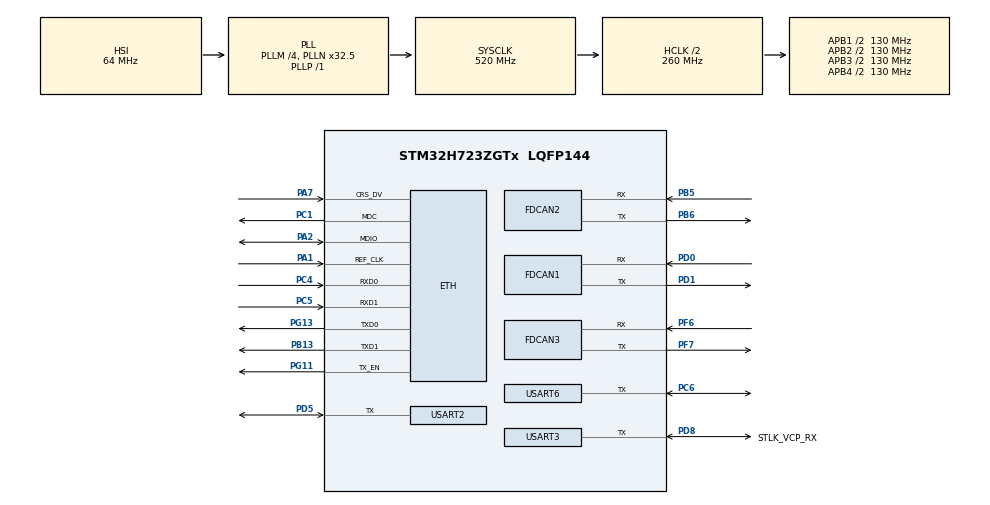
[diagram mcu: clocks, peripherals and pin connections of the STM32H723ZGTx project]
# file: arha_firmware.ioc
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CORTEX_M7.AccessPermission_S-Cortex_Memory_Protection_Unit_Region1_Settings_S=MPU_REGION_FULL_ACCESS
CORTEX_M7.AccessPermission_S-Cortex_Memory_Protection_Unit_Region2_Settings_S=MPU_REGION_FULL_ACCESS
CORTEX_M7.BaseAddress_S-Cortex_Memory_Protection_Unit_Region1_Settings_S=0x30000000
CORTEX_M7.BaseAddress_S-Cortex_Memory_Protection_Unit_Region2_Settings_S=0x30004000
CORTEX_M7.Enable_S-Cortex_Memory_Protection_Unit_Region1_Settings_S=MPU_REGION_ENABLE
CORTEX_M7.Enable_S-Cortex_Memory_Protection_Unit_Region2_Settings_S=MPU_REGION_ENABLE
CORTEX_M7.IsBufferable_S-Cortex_Memory_Protection_Unit_Region1_Settings_S=MPU_ACCESS_BUFFERABLE
CORTEX_M7.IsCacheable_S-Cortex_Memory_Protection_Unit_Region1_Settings_S=MPU_ACCESS_NOT_CACHEABLE
CORTEX_M7.IsShareable_S-Cortex_Memory_Protection_Unit_Region2_Settings_S=MPU_ACCESS_SHAREABLE
CORTEX_M7.Size_S-Cortex_Memory_Protection_Unit_Region1_Settings_S=MPU_REGION_SIZE_256B
CORTEX_M7.Size_S-Cortex_Memory_Protection_Unit_Region2_Settings_S=MPU_REGION_SIZE_16KB
CORTEX_M7.TypeExtField_S-Cortex_Memory_Protection_Unit_Region2_Settings_S=MPU_TEX_LEVEL1
CORTEX_M7.default_mode_Activation=1
Dma.CORDIC_RD.1.Direction=DMA_PERIPH_TO_MEMORY
Dma.CORDIC_RD.1.EventEnable=DISABLE
Dma.CORDIC_RD.1.FIFOMode=DMA_FIFOMODE_DISABLE
Dma.CORDIC_RD.1.Instance=DMA1_Stream1
Dma.CORDIC_RD.1.MemDataAlignment=DMA_MDATAALIGN_WORD
Dma.CORDIC_RD.1.MemInc=DMA_MINC_ENABLE
Dma.CORDIC_RD.1.Mode=DMA_NORMAL
Dma.CORDIC_RD.1.PeriphDataAlignment=DMA_PDATAALIGN_WORD
Dma.CORDIC_RD.1.PeriphInc=DMA_PINC_DISABLE
Dma.CORDIC_RD.1.Polarity=HAL_DMAMUX_REQ_GEN_RISING
Dma.CORDIC_RD.1.Priority=DMA_PRIORITY_LOW
Dma.CORDIC_RD.1.RequestNumber=1
Dma.CORDIC_RD.1.SignalID=NONE
Dma.CORDIC_RD.1.SyncEnable=DISABLE
Dma.CORDIC_RD.1.SyncPolarity=HAL_DMAMUX_SYNC_NO_EVENT
Dma.CORDIC_RD.1.SyncRequestNumber=1
Dma.CORDIC_RD.1.SyncSignalID=NONE
Dma.CORDIC_WR.0.Direction=DMA_MEMORY_TO_PERIPH
Dma.CORDIC_WR.0.EventEnable=DISABLE
Dma.CORDIC_WR.0.FIFOMode=DMA_FIFOMODE_DISABLE
Dma.CORDIC_WR.0.Instance=DMA1_Stream0
Dma.CORDIC_WR.0.MemDataAlignment=DMA_MDATAALIGN_WORD
Dma.CORDIC_WR.0.MemInc=DMA_MINC_ENABLE
Dma.CORDIC_WR.0.Mode=DMA_NORMAL
Dma.CORDIC_WR.0.PeriphDataAlignment=DMA_PDATAALIGN_WORD
Dma.CORDIC_WR.0.PeriphInc=DMA_PINC_DISABLE
Dma.CORDIC_WR.0.Polarity=HAL_DMAMUX_REQ_GEN_RISING
Dma.CORDIC_WR.0.Priority=DMA_PRIORITY_LOW
Dma.CORDIC_WR.0.RequestNumber=1
Dma.CORDIC_WR.0.SignalID=NONE
Dma.CORDIC_WR.0.SyncEnable=DISABLE
Dma.CORDIC_WR.0.SyncPolarity=HAL_DMAMUX_SYNC_NO_EVENT
Dma.CORDIC_WR.0.SyncRequestNumber=1
Dma.CORDIC_WR.0.SyncSignalID=NONE
Dma.FMAC_RD.2.Direction=DMA_PERIPH_TO_MEMORY
Dma.FMAC_RD.2.EventEnable=DISABLE
Dma.FMAC_RD.2.FIFOMode=DMA_FIFOMODE_DISABLE
Dma.FMAC_RD.2.Instance=DMA1_Stream2
Dma.FMAC_RD.2.MemDataAlignment=DMA_MDATAALIGN_HALFWORD
Dma.FMAC_RD.2.MemInc=DMA_MINC_ENABLE
Dma.FMAC_RD.2.Mode=DMA_NORMAL
Dma.FMAC_RD.2.PeriphDataAlignment=DMA_PDATAALIGN_HALFWORD
Dma.FMAC_RD.2.PeriphInc=DMA_PINC_DISABLE
Dma.FMAC_RD.2.Polarity=HAL_DMAMUX_REQ_GEN_RISING
Dma.FMAC_RD.2.Priority=DMA_PRIORITY_LOW
Dma.FMAC_RD.2.RequestNumber=1
Dma.FMAC_RD.2.SignalID=NONE
Dma.FMAC_RD.2.SyncEnable=DISABLE
Dma.FMAC_RD.2.SyncPolarity=HAL_DMAMUX_SYNC_NO_EVENT
Dma.FMAC_RD.2.SyncRequestNumber=1
Dma.FMAC_RD.2.SyncSignalID=NONE
Dma.FMAC_WR.3.Direction=DMA_MEMORY_TO_PERIPH
Dma.FMAC_WR.3.EventEnable=DISABLE
Dma.FMAC_WR.3.FIFOMode=DMA_FIFOMODE_DISABLE
Dma.FMAC_WR.3.Instance=DMA1_Stream3
Dma.FMAC_WR.3.MemDataAlignment=DMA_MDATAALIGN_HALFWORD
Dma.FMAC_WR.3.MemInc=DMA_MINC_ENABLE
Dma.FMAC_WR.3.Mode=DMA_NORMAL
Dma.FMAC_WR.3.PeriphDataAlignment=DMA_PDATAALIGN_HALFWORD
Dma.FMAC_WR.3.PeriphInc=DMA_PINC_DISABLE
Dma.FMAC_WR.3.Polarity=HAL_DMAMUX_REQ_GEN_RISING
Dma.FMAC_WR.3.Priority=DMA_PRIORITY_LOW
Dma.FMAC_WR.3.RequestNumber=1
Dma.FMAC_WR.3.SignalID=NONE
Dma.FMAC_WR.3.SyncEnable=DISABLE
Dma.FMAC_WR.3.SyncPolarity=HAL_DMAMUX_SYNC_NO_EVENT
Dma.FMAC_WR.3.SyncRequestNumber=1
Dma.FMAC_WR.3.SyncSignalID=NONE
Dma.Request0=CORDIC_WR
Dma.Request1=CORDIC_RD
Dma.Request2=FMAC_RD
Dma.Request3=FMAC_WR
Dma.Request4=USART3_RX
Dma.Request5=USART3_TX
Dma.Request6=USART6_RX
Dma.Request7=USART6_TX
Dma.USART3_RX.4.Direction=DMA_PERIPH_TO_MEMORY
Dma.USART3_RX.4.EventEnable=DISABLE
Dma.USART3_RX.4.FIFOMode=DMA_FIFOMODE_DISABLE
Dma.USART3_RX.4.Instance=DMA1_Stream4
Dma.USART3_RX.4.MemDataAlignment=DMA_MDATAALIGN_BYTE
Dma.USART3_RX.4.MemInc=DMA_MINC_ENABLE
Dma.USART3_RX.4.Mode=DMA_NORMAL
Dma.USART3_RX.4.PeriphDataAlignment=DMA_PDATAALIGN_BYTE
Dma.USART3_RX.4.PeriphInc=DMA_PINC_DISABLE
Dma.USART3_RX.4.Polarity=HAL_DMAMUX_REQ_GEN_RISING
Dma.USART3_RX.4.Priority=DMA_PRIORITY_HIGH
Dma.USART3_RX.4.RequestNumber=1
Dma.USART3_RX.4.SignalID=NONE
Dma.USART3_RX.4.SyncEnable=DISABLE
Dma.USART3_RX.4.SyncPolarity=HAL_DMAMUX_SYNC_NO_EVENT
Dma.USART3_RX.4.SyncRequestNumber=1
Dma.USART3_RX.4.SyncSignalID=NONE
Dma.USART3_TX.5.Direction=DMA_MEMORY_TO_PERIPH
Dma.USART3_TX.5.EventEnable=DISABLE
Dma.USART3_TX.5.FIFOMode=DMA_FIFOMODE_DISABLE
Dma.USART3_TX.5.Instance=DMA1_Stream5
Dma.USART3_TX.5.MemDataAlignment=DMA_MDATAALIGN_BYTE
Dma.USART3_TX.5.MemInc=DMA_MINC_ENABLE
Dma.USART3_TX.5.Mode=DMA_NORMAL
Dma.USART3_TX.5.PeriphDataAlignment=DMA_PDATAALIGN_BYTE
Dma.USART3_TX.5.PeriphInc=DMA_PINC_DISABLE
Dma.USART3_TX.5.Polarity=HAL_DMAMUX_REQ_GEN_RISING
Dma.USART3_TX.5.Priority=DMA_PRIORITY_MEDIUM
Dma.USART3_TX.5.RequestNumber=1
Dma.USART3_TX.5.SignalID=NONE
Dma.USART3_TX.5.SyncEnable=DISABLE
Dma.USART3_TX.5.SyncPolarity=HAL_DMAMUX_SYNC_NO_EVENT
Dma.USART3_TX.5.SyncRequestNumber=1
Dma.USART3_TX.5.SyncSignalID=NONE
Dma.USART6_RX.6.Direction=DMA_PERIPH_TO_MEMORY
Dma.USART6_RX.6.EventEnable=DISABLE
Dma.USART6_RX.6.FIFOMode=DMA_FIFOMODE_DISABLE
Dma.USART6_RX.6.Instance=DMA1_Stream6
Dma.USART6_RX.6.MemDataAlignment=DMA_MDATAALIGN_BYTE
Dma.USART6_RX.6.MemInc=DMA_MINC_ENABLE
Dma.USART6_RX.6.Mode=DMA_NORMAL
Dma.USART6_RX.6.PeriphDataAlignment=DMA_PDATAALIGN_BYTE
Dma.USART6_RX.6.PeriphInc=DMA_PINC_DISABLE
Dma.USART6_RX.6.Polarity=HAL_DMAMUX_REQ_GEN_RISING
Dma.USART6_RX.6.Priority=DMA_PRIORITY_HIGH
Dma.USART6_RX.6.RequestNumber=1
Dma.USART6_RX.6.SignalID=NONE
Dma.USART6_RX.6.SyncEnable=DISABLE
Dma.USART6_RX.6.SyncPolarity=HAL_DMAMUX_SYNC_NO_EVENT
Dma.USART6_RX.6.SyncRequestNumber=1
Dma.USART6_RX.6.SyncSignalID=NONE
Dma.USART6_TX.7.Direction=DMA_MEMORY_TO_PERIPH
Dma.USART6_TX.7.EventEnable=DISABLE
Dma.USART6_TX.7.FIFOMode=DMA_FIFOMODE_DISABLE
Dma.USART6_TX.7.Instance=DMA1_Stream7
Dma.USART6_TX.7.MemDataAlignment=DMA_MDATAALIGN_BYTE
Dma.USART6_TX.7.MemInc=DMA_MINC_ENABLE
Dma.USART6_TX.7.Mode=DMA_NORMAL
Dma.USART6_TX.7.PeriphDataAlignment=DMA_PDATAALIGN_BYTE
Dma.USART6_TX.7.PeriphInc=DMA_PINC_DISABLE
Dma.USART6_TX.7.Polarity=HAL_DMAMUX_REQ_GEN_RISING
Dma.USART6_TX.7.Priority=DMA_PRIORITY_MEDIUM
Dma.USART6_TX.7.RequestNumber=1
Dma.USART6_TX.7.SignalID=NONE
Dma.USART6_TX.7.SyncEnable=DISABLE
Dma.USART6_TX.7.SyncPolarity=HAL_DMAMUX_SYNC_NO_EVENT
Dma.USART6_TX.7.SyncRequestNumber=1
Dma.USART6_TX.7.SyncSignalID=NONE
ETH.MediaInterface=HAL_ETH_RMII_MODE
FDCAN1.AutoRetransmission=ENABLE
FDCAN1.CalculateBaudRateNominal=1000000
FDCAN1.CalculateTimeBitNominal=1000
FDCAN1.CalculateTimeQuantumNominal=76.92307692307692
FDCAN1.NominalPrescaler=10
FDCAN1.NominalTimeSeg1=10
FDCAN1.NominalTimeSeg2=2
FDCAN1.RxFifo0ElmtsNbr=8
FDCAN1.StdFiltersNbr=1
FDCAN1.TxFifoQueueElmtsNbr=32
FDCAN2.AutoRetransmission=ENABLE
FDCAN2.CalculateBaudRateNominal=1000000
FDCAN2.CalculateTimeBitNominal=1000
FDCAN2.CalculateTimeQuantumNominal=76.92307692307692
FDCAN2.NominalPrescaler=10
FDCAN2.NominalTimeSeg1=10
FDCAN2.NominalTimeSeg2=2
FDCAN2.RxFifo0ElmtsNbr=8
FDCAN2.StdFiltersNbr=1
FDCAN2.TxFifoQueueElmtsNbr=32
FDCAN3.AutoRetransmission=ENABLE
FDCAN3.CalculateBaudRateNominal=1000000
FDCAN3.CalculateTimeBitNominal=1000
FDCAN3.CalculateTimeQuantumNominal=76.92307692307692
FDCAN3.ExtFiltersNbr=0
FDCAN3.NominalPrescaler=10
FDCAN3.NominalTimeSeg1=10
FDCAN3.NominalTimeSeg2=2
FDCAN3.RxFifo0ElmtsNbr=8
FDCAN3.StdFiltersNbr=1
FDCAN3.TxFifoQueueElmtsNbr=32
FREERTOS.Tasks01=defaultTask,24,512,StartDefaultTask,Default,NULL,Dynamic,NULL,NULL
FREERTOS.configMINIMAL_STACK_SIZE=512
FREERTOS.configTOTAL_HEAP_SIZE=25000
FREERTOS.configUSE_NEWLIB_REENTRANT=1
IWDG1.Prescaler=IWDG_PRESCALER_256
IWDG1.Reload=249
LWIP.BSP.number=1
LWIP.GATEWAY_ADDRESS=192.168.197.001
LWIP.IP_ADDRESS=192.168.197.123
LWIP.LWIP_DHCP=0
LWIP.MEM_SIZE=14336
LWIP.NETMASK_ADDRESS=255.255.255.000
LWIP.PBUF_POOL_BUFSIZE=1536
LWIP.TCP_MSS=1460
LWIP.TCP_WND=5840
LWIP.Version=v2.1.2_Cube
LWIP0.BSP.STBoard=false
LWIP0.BSP.api=BSP_COMPONENT_DRIVER
LWIP0.BSP.component=LAN8742
LWIP0.BSP.instance=LAN8742
LWIP0.BSP.name=Driver_PHY
LWIP0.BSP.semaphore=S_LAN8742
LWIP0.BSP.solution=LAN8742
Mcu.Family=STM32H7
Mcu.Name=STM32H723ZGTx
Mcu.Package=LQFP144
NVIC.DMA1_Stream0_IRQn=true\:5\:0\:false\:false\:true\:true\:false\:true\:true
NVIC.DMA1_Stream1_IRQn=true\:5\:0\:false\:false\:true\:true\:false\:true\:true
NVIC.DMA1_Stream2_IRQn=true\:5\:0\:false\:false\:true\:true\:false\:true\:true
NVIC.DMA1_Stream3_IRQn=true\:5\:0\:false\:false\:true\:true\:false\:true\:true
NVIC.DMA1_Stream4_IRQn=true\:5\:0\:false\:false\:true\:true\:false\:true\:true
NVIC.DMA1_Stream5_IRQn=true\:5\:0\:false\:false\:true\:true\:false\:true\:true
NVIC.DMA1_Stream6_IRQn=true\:5\:0\:false\:false\:true\:true\:false\:true\:true
NVIC.DMA1_Stream7_IRQn=true\:5\:0\:false\:false\:true\:true\:false\:true\:true
NVIC.FDCAN1_IT0_IRQn=true\:5\:0\:false\:false\:true\:true\:true\:true\:true
NVIC.PriorityGroup=NVIC_PRIORITYGROUP_4
NVIC.TIM6_DAC_IRQn=true\:15\:0\:false\:false\:true\:false\:false\:true\:true
NVIC.TimeBase=TIM6_DAC_IRQn
NVIC.TimeBaseIP=TIM6
NVIC.USART2_IRQn=true\:5\:0\:false\:false\:true\:true\:true\:true\:true
NVIC.USART3_IRQn=true\:5\:0\:false\:false\:true\:true\:true\:true\:true
NVIC.USART6_IRQn=true\:5\:0\:false\:false\:true\:true\:true\:true\:true
PA1.GPIO_Speed_Default_HIGH=GPIO_SPEED_FREQ_VERY_HIGH
PA1.Mode=RMII
PA1.Signal=ETH_REF_CLK
PA13(JTMS/SWDIO).GPIO_Label=SWDIO
PA13(JTMS/SWDIO).Signal=DEBUG_JTMS-SWDIO
PA14(JTCK/SWCLK).GPIO_Label=SWCLK
PA14(JTCK/SWCLK).Signal=DEBUG_JTCK-SWCLK
PA2.GPIO_Speed_Default_HIGH=GPIO_SPEED_FREQ_VERY_HIGH
PA2.Mode=RMII
PA2.Signal=ETH_MDIO
PA7.GPIO_Speed_Default_HIGH=GPIO_SPEED_FREQ_VERY_HIGH
PA7.Mode=RMII
PA7.Signal=ETH_CRS_DV
PB13.GPIO_Speed_Default_HIGH=GPIO_SPEED_FREQ_VERY_HIGH
PB13.Mode=RMII
PB13.Signal=ETH_TXD1
PB5.Mode=FDCAN_Activate
PB5.Signal=FDCAN2_RX
PB6.Mode=FDCAN_Activate
PB6.Signal=FDCAN2_TX
PC1.GPIO_Speed_Default_HIGH=GPIO_SPEED_FREQ_VERY_HIGH
PC1.Mode=RMII
PC1.Signal=ETH_MDC
PC14-OSC32_IN.Signal=RCC_OSC32_IN
PC15-OSC32_OUT.Signal=RCC_OSC32_OUT
PC4.GPIO_Speed_Default_HIGH=GPIO_SPEED_FREQ_VERY_HIGH
PC4.Mode=RMII
PC4.Signal=ETH_RXD0
PC5.GPIO_Speed_Default_HIGH=GPIO_SPEED_FREQ_VERY_HIGH
PC5.Mode=RMII
PC5.Signal=ETH_RXD1
PC6.Mode=Half_duplex(single_wire_mode)
PC6.Signal=USART6_TX
PD0.GPIO_Speed=GPIO_SPEED_FREQ_VERY_HIGH
PD0.Mode=FDCAN_Activate
PD0.Signal=FDCAN1_RX
PD1.GPIO_Speed=GPIO_SPEED_FREQ_VERY_HIGH
PD1.Mode=FDCAN_Activate
PD1.Signal=FDCAN1_TX
PD5.Mode=Half_duplex(single_wire_mode)
PD5.Signal=USART2_TX
PD8.GPIO_Label=STLK_VCP_RX
PD8.Mode=Half_duplex(single_wire_mode)
PD8.Signal=USART3_TX
PD9.GPIO_Label=STLK_VCP_TX
PD9.Signal=USART3_RX
PF6.Mode=FDCAN_Activate
PF6.Signal=FDCAN3_RX
PF7.Mode=FDCAN_Activate
PF7.Signal=FDCAN3_TX
PG11.GPIO_Speed_Default_HIGH=GPIO_SPEED_FREQ_VERY_HIGH
PG11.Mode=RMII
PG11.Signal=ETH_TX_EN
PG13.GPIO_Speed_Default_HIGH=GPIO_SPEED_FREQ_VERY_HIGH
PG13.Mode=RMII
PG13.Signal=ETH_TXD0
PH0-OSC_IN.Mode=HSE-External-Clock-Source
PH0-OSC_IN.Signal=RCC_OSC_IN
ProjectManager.HeapSize=0x1000
ProjectManager.StackSize=0x1000
ProjectManager.TargetToolchain=STM32CubeIDE
RCC.ADCFreq_Value=608000000
RCC.APB1Freq_Value=130000000
RCC.APB2Freq_Value=130000000
RCC.APB3Freq_Value=130000000
RCC.APB4Freq_Value=130000000
RCC.CortexFreq_Value=520000000
RCC.D1PPRE=RCC_APB3_DIV2
RCC.D2PPRE1=RCC_APB1_DIV2
RCC.D2PPRE2=RCC_APB2_DIV2
RCC.D3PPRE=RCC_APB4_DIV2
RCC.DIVM1=4
RCC.DIVM2=1
RCC.DIVN1=32
RCC.DIVN2=19
RCC.DIVP1=1
RCC.DIVQ1=4
RCC.HCLKFreq_Value=260000000
RCC.HPRE=RCC_HCLK_DIV2
RCC.HSE_VALUE=8000000
RCC.PLLFRACN=4096
RCC.SYSCLKFreq_VALUE=520000000
RCC.SYSCLKSource=RCC_SYSCLKSOURCE_PLLCLK
RCC.USBCLockSelection=RCC_USBCLKSOURCE_HSI48
RCC.USBFreq_Value=48000000
USART2.BaudRate=1000000
USART2.VirtualMode-Half_duplex(single_wire_mode)=VM_ASYNC
USART3.BaudRate=1000000
USART3.VirtualMode-Half_duplex(single_wire_mode)=VM_ASYNC
USART3.WordLength=WORDLENGTH_8B
USART6.BaudRate=1000000
USART6.VirtualMode-Half_duplex(single_wire_mode)=VM_ASYNC
VP_CORDIC_VS_CORDIC.Mode=CORDIC_Activate
VP_FMAC_VS_FMAC.Mode=FMAC_Activate
VP_FREERTOS_VS_CMSIS_V2.Mode=CMSIS_V2
VP_IWDG1_VS_IWDG.Mode=IWDG_Activate
VP_LWIP_VS_Enabled.Mode=Enabled
VP_MEMORYMAP_VS_MEMORYMAP.Mode=CurAppReg
VP_SYS_VS_tim6.Mode=TIM6
board=NUCLEO-H723ZG

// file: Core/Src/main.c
/* USER CODE BEGIN Header */
/**
 ******************************************************************************
 * @file           : main.c
 * @brief          : Main program body
 ******************************************************************************
 * @attention
 *
 * Copyright (c) 2026 STMicroelectronics.
 * All rights reserved.
 *
 * This software is licensed under terms that can be found in the LICENSE file
 * in the root directory of this software component.
 * If no LICENSE file comes with this software, it is provided AS-IS.
 *
 ******************************************************************************
 */
/* USER CODE END Header */
#include "main.h"
#include "cmsis_os.h"
#include "lwip.h"

/* USER CODE BEGIN Includes */
#include "motor/fdcan.h"
#include "motor/myactuator.h"
#include "motor/gripper_control.h"
#include "tcp/tcp_ip.h"

#include "posControl.h"
/* USER CODE END Includes */

CORDIC_HandleTypeDef hcordic;
DMA_HandleTypeDef hdma_cordic_wr;
DMA_HandleTypeDef hdma_cordic_rd;

FDCAN_HandleTypeDef hfdcan1;
FDCAN_HandleTypeDef hfdcan2;
FDCAN_HandleTypeDef hfdcan3;

FMAC_HandleTypeDef hfmac;
DMA_HandleTypeDef hdma_fmac_rd;
DMA_HandleTypeDef hdma_fmac_wr;

IWDG_HandleTypeDef hiwdg1;

UART_HandleTypeDef huart2;
UART_HandleTypeDef huart3;
UART_HandleTypeDef huart6;
DMA_HandleTypeDef hdma_usart3_rx;
DMA_HandleTypeDef hdma_usart3_tx;
DMA_HandleTypeDef hdma_usart6_rx;
DMA_HandleTypeDef hdma_usart6_tx;

/* Definitions for defaultTask */
osThreadId_t defaultTaskHandle;
const osThreadAttr_t defaultTask_attributes = {
  .name = "defaultTask",
  .stack_size = 512 * 4,
  .priority = (osPriority_t) osPriorityNormal,
};

void SystemClock_Config(void);
static void MPU_Config(void);
static void MX_GPIO_Init(void);
static void MX_DMA_Init(void);
static void MX_CORDIC_Init(void);
static void MX_FDCAN1_Init(void);
static void MX_FMAC_Init(void);
static void MX_USART3_UART_Init(void);
static void MX_IWDG1_Init(void);
static void MX_FDCAN2_Init(void);
static void MX_FDCAN3_Init(void);
static void MX_USART6_UART_Init(void);
static void MX_USART2_UART_Init(void);
void StartDefaultTask(void *argument);

int main(void)
{

  /* MPU Configuration--------------------------------------------------------*/
  MPU_Config();

  /* MCU Configuration--------------------------------------------------------*/

  /* Reset of all peripherals, Initializes the Flash interface and the Systick. */
  HAL_Init();

  /* Configure the system clock */
  SystemClock_Config();

  /* Initialize all configured peripherals */
  MX_GPIO_Init();
  MX_DMA_Init();
  MX_CORDIC_Init();
  MX_FDCAN1_Init();
  MX_FMAC_Init();
  MX_USART3_UART_Init();
  MX_IWDG1_Init();
  MX_FDCAN2_Init();
  MX_FDCAN3_Init();
  MX_USART6_UART_Init();
  MX_USART2_UART_Init();
  /* USER CODE BEGIN 2 */

   // Initializes FDCAN driver
  if (FDCAN_Driver_init() != HAL_OK) {
      Error_Handler();
  }

  // Starts FDCAN peripheral
  if (FDCAN_Driver_Start() != HAL_OK) {
      Error_Handler();
  }

  if (FDCAN2_Driver_Init() != HAL_OK) {
      Error_Handler();
  }
  if (FDCAN2_Driver_Start() != HAL_OK) {
      Error_Handler();
  }

  if (FDCAN3_Driver_Init() != HAL_OK) {
      Error_Handler();
  }
  if (FDCAN3_Driver_Start() != HAL_OK) {
      Error_Handler();
  }

  /* USER CODE END 2 */

  /* Init scheduler */
  osKernelInitialize();

  /* Create the thread(s) */
  /* creation of defaultTask */
  defaultTaskHandle = osThreadNew(StartDefaultTask, NULL, &defaultTask_attributes);

  /* Start scheduler */
  osKernelStart();

  /* We should never get here as control is now taken by the scheduler */

  /* Infinite loop */
  while (1)
  {

  }
}

void SystemClock_Config(void)
{
  RCC_OscInitTypeDef RCC_OscInitStruct = {0};
  RCC_ClkInitTypeDef RCC_ClkInitStruct = {0};

  /** Supply configuration update enable
  */
  HAL_PWREx_ConfigSupply(PWR_LDO_SUPPLY);

  /** Configure the main internal regulator output voltage
  */
  __HAL_PWR_VOLTAGESCALING_CONFIG(PWR_REGULATOR_VOLTAGE_SCALE0);

  while(!__HAL_PWR_GET_FLAG(PWR_FLAG_VOSRDY)) {}

  /** Initializes the RCC Oscillators according to the specified parameters
  * in the RCC_OscInitTypeDef structure.
  */
  RCC_OscInitStruct.OscillatorType = RCC_OSCILLATORTYPE_HSI|RCC_OSCILLATORTYPE_LSI;
  RCC_OscInitStruct.HSIState = RCC_HSI_DIV1;
  RCC_OscInitStruct.HSICalibrationValue = 64;
  RCC_OscInitStruct.LSIState = RCC_LSI_ON;
  RCC_OscInitStruct.PLL.PLLState = RCC_PLL_ON;
  RCC_OscInitStruct.PLL.PLLSource = RCC_PLLSOURCE_HSI;
  RCC_OscInitStruct.PLL.PLLM = 4;
  RCC_OscInitStruct.PLL.PLLN = 32;
  RCC_OscInitStruct.PLL.PLLP = 1;
  RCC_OscInitStruct.PLL.PLLQ = 4;
  RCC_OscInitStruct.PLL.PLLR = 2;
  RCC_OscInitStruct.PLL.PLLRGE = RCC_PLL1VCIRANGE_3;
  RCC_OscInitStruct.PLL.PLLVCOSEL = RCC_PLL1VCOWIDE;
  RCC_OscInitStruct.PLL.PLLFRACN = 4096;
  if (HAL_RCC_OscConfig(&RCC_OscInitStruct) != HAL_OK)
  {
    Error_Handler();
  }

  /** Initializes the CPU, AHB and APB buses clocks
  */
  RCC_ClkInitStruct.ClockType = RCC_CLOCKTYPE_HCLK|RCC_CLOCKTYPE_SYSCLK
                              |RCC_CLOCKTYPE_PCLK1|RCC_CLOCKTYPE_PCLK2
                              |RCC_CLOCKTYPE_D3PCLK1|RCC_CLOCKTYPE_D1PCLK1;
  RCC_ClkInitStruct.SYSCLKSource = RCC_SYSCLKSOURCE_PLLCLK;
  RCC_ClkInitStruct.SYSCLKDivider = RCC_SYSCLK_DIV1;
  RCC_ClkInitStruct.AHBCLKDivider = RCC_HCLK_DIV2;
  RCC_ClkInitStruct.APB3CLKDivider = RCC_APB3_DIV2;
  RCC_ClkInitStruct.APB1CLKDivider = RCC_APB1_DIV2;
  RCC_ClkInitStruct.APB2CLKDivider = RCC_APB2_DIV2;
  RCC_ClkInitStruct.APB4CLKDivider = RCC_APB4_DIV2;

  if (HAL_RCC_ClockConfig(&RCC_ClkInitStruct, FLASH_LATENCY_3) != HAL_OK)
  {
    Error_Handler();
  }
}

static void MX_CORDIC_Init(void)
{

  hcordic.Instance = CORDIC;
  if (HAL_CORDIC_Init(&hcordic) != HAL_OK)
  {
    Error_Handler();
  }

}

static void MX_FDCAN1_Init(void)
{

  hfdcan1.Instance = FDCAN1;
  hfdcan1.Init.FrameFormat = FDCAN_FRAME_CLASSIC;
  hfdcan1.Init.Mode = FDCAN_MODE_NORMAL;
  hfdcan1.Init.AutoRetransmission = ENABLE;
  hfdcan1.Init.TransmitPause = DISABLE;
  hfdcan1.Init.ProtocolException = DISABLE;
  hfdcan1.Init.NominalPrescaler = 10;
  hfdcan1.Init.NominalSyncJumpWidth = 1;
  hfdcan1.Init.NominalTimeSeg1 = 10;
  hfdcan1.Init.NominalTimeSeg2 = 2;
  hfdcan1.Init.DataPrescaler = 1;
  hfdcan1.Init.DataSyncJumpWidth = 1;
  hfdcan1.Init.DataTimeSeg1 = 1;
  hfdcan1.Init.DataTimeSeg2 = 1;
  hfdcan1.Init.MessageRAMOffset = 0;
  hfdcan1.Init.StdFiltersNbr = 1;
  hfdcan1.Init.ExtFiltersNbr = 0;
  hfdcan1.Init.RxFifo0ElmtsNbr = 8;
  hfdcan1.Init.RxFifo0ElmtSize = FDCAN_DATA_BYTES_8;
  hfdcan1.Init.RxFifo1ElmtsNbr = 0;
  hfdcan1.Init.RxFifo1ElmtSize = FDCAN_DATA_BYTES_8;
  hfdcan1.Init.RxBuffersNbr = 0;
  hfdcan1.Init.RxBufferSize = FDCAN_DATA_BYTES_8;
  hfdcan1.Init.TxEventsNbr = 0;
  hfdcan1.Init.TxBuffersNbr = 0;
  hfdcan1.Init.TxFifoQueueElmtsNbr = 32;
  hfdcan1.Init.TxFifoQueueMode = FDCAN_TX_FIFO_OPERATION;
  hfdcan1.Init.TxElmtSize = FDCAN_DATA_BYTES_8;
  if (HAL_FDCAN_Init(&hfdcan1) != HAL_OK)
  {
    Error_Handler();
  }

}

static void MX_FDCAN2_Init(void)
{

  hfdcan2.Instance = FDCAN2;
  hfdcan2.Init.FrameFormat = FDCAN_FRAME_CLASSIC;
  hfdcan2.Init.Mode = FDCAN_MODE_NORMAL;
  hfdcan2.Init.AutoRetransmission = ENABLE;
  hfdcan2.Init.TransmitPause = DISABLE;
  hfdcan2.Init.ProtocolException = DISABLE;
  hfdcan2.Init.NominalPrescaler = 10;
  hfdcan2.Init.NominalSyncJumpWidth = 1;
  hfdcan2.Init.NominalTimeSeg1 = 10;
  hfdcan2.Init.NominalTimeSeg2 = 2;
  hfdcan2.Init.DataPrescaler = 1;
  hfdcan2.Init.DataSyncJumpWidth = 1;
  hfdcan2.Init.DataTimeSeg1 = 1;
  hfdcan2.Init.DataTimeSeg2 = 1;
  hfdcan2.Init.MessageRAMOffset = 720;
  hfdcan2.Init.StdFiltersNbr = 1;
  hfdcan2.Init.ExtFiltersNbr = 0;
  hfdcan2.Init.RxFifo0ElmtsNbr = 8;
  hfdcan2.Init.RxFifo0ElmtSize = FDCAN_DATA_BYTES_8;
  hfdcan2.Init.RxFifo1ElmtsNbr = 0;
  hfdcan2.Init.RxFifo1ElmtSize = FDCAN_DATA_BYTES_8;
  hfdcan2.Init.RxBuffersNbr = 0;
  hfdcan2.Init.RxBufferSize = FDCAN_DATA_BYTES_8;
  hfdcan2.Init.TxEventsNbr = 0;
  hfdcan2.Init.TxBuffersNbr = 0;
  hfdcan2.Init.TxFifoQueueElmtsNbr = 32;
  hfdcan2.Init.TxFifoQueueMode = FDCAN_TX_FIFO_OPERATION;
  hfdcan2.Init.TxElmtSize = FDCAN_DATA_BYTES_8;
  if (HAL_FDCAN_Init(&hfdcan2) != HAL_OK)
  {
    Error_Handler();
  }

}

static void MX_FDCAN3_Init(void)
{

  hfdcan3.Instance = FDCAN3;
  hfdcan3.Init.FrameFormat = FDCAN_FRAME_CLASSIC;
  hfdcan3.Init.Mode = FDCAN_MODE_NORMAL;
  hfdcan3.Init.AutoRetransmission = ENABLE;
  hfdcan3.Init.TransmitPause = DISABLE;
  hfdcan3.Init.ProtocolException = DISABLE;
  hfdcan3.Init.NominalPrescaler = 10;
  hfdcan3.Init.NominalSyncJumpWidth = 1;
  hfdcan3.Init.NominalTimeSeg1 = 10;
  hfdcan3.Init.NominalTimeSeg2 = 2;
  hfdcan3.Init.DataPrescaler = 1;
  hfdcan3.Init.DataSyncJumpWidth = 1;
  hfdcan3.Init.DataTimeSeg1 = 1;
  hfdcan3.Init.DataTimeSeg2 = 1;
  hfdcan3.Init.MessageRAMOffset = 1440;
  hfdcan3.Init.StdFiltersNbr = 1;
  hfdcan3.Init.ExtFiltersNbr = 0;
  hfdcan3.Init.RxFifo0ElmtsNbr = 8;
  hfdcan3.Init.RxFifo0ElmtSize = FDCAN_DATA_BYTES_8;
  hfdcan3.Init.RxFifo1ElmtsNbr = 0;
  hfdcan3.Init.RxFifo1ElmtSize = FDCAN_DATA_BYTES_8;
  hfdcan3.Init.RxBuffersNbr = 0;
  hfdcan3.Init.RxBufferSize = FDCAN_DATA_BYTES_8;
  hfdcan3.Init.TxEventsNbr = 0;
  hfdcan3.Init.TxBuffersNbr = 0;
  hfdcan3.Init.TxFifoQueueElmtsNbr = 32;
  hfdcan3.Init.TxFifoQueueMode = FDCAN_TX_FIFO_OPERATION;
  hfdcan3.Init.TxElmtSize = FDCAN_DATA_BYTES_8;
  if (HAL_FDCAN_Init(&hfdcan3) != HAL_OK)
  {
    Error_Handler();
  }

}

static void MX_FMAC_Init(void)
{

  hfmac.Instance = FMAC;
  if (HAL_FMAC_Init(&hfmac) != HAL_OK)
  {
    Error_Handler();
  }

}

static void MX_IWDG1_Init(void)
{

  hiwdg1.Instance = IWDG1;
  hiwdg1.Init.Prescaler = IWDG_PRESCALER_256;
  hiwdg1.Init.Window = 4095;
  hiwdg1.Init.Reload = 249;
  if (HAL_IWDG_Init(&hiwdg1) != HAL_OK)
  {
    Error_Handler();
  }

}

static void MX_USART2_UART_Init(void)
{

  huart2.Instance = USART2;
  huart2.Init.BaudRate = 1000000;
  huart2.Init.WordLength = UART_WORDLENGTH_8B;
  huart2.Init.StopBits = UART_STOPBITS_1;
  huart2.Init.Parity = UART_PARITY_NONE;
  huart2.Init.Mode = UART_MODE_TX_RX;
  huart2.Init.HwFlowCtl = UART_HWCONTROL_NONE;
  huart2.Init.OverSampling = UART_OVERSAMPLING_16;
  huart2.Init.OneBitSampling = UART_ONE_BIT_SAMPLE_DISABLE;
  huart2.Init.ClockPrescaler = UART_PRESCALER_DIV1;
  huart2.AdvancedInit.AdvFeatureInit = UART_ADVFEATURE_NO_INIT;
  if (HAL_HalfDuplex_Init(&huart2) != HAL_OK)
  {
    Error_Handler();
  }
  if (HAL_UARTEx_SetTxFifoThreshold(&huart2, UART_TXFIFO_THRESHOLD_1_8) != HAL_OK)
  {
    Error_Handler();
  }
  if (HAL_UARTEx_SetRxFifoThreshold(&huart2, UART_RXFIFO_THRESHOLD_1_8) != HAL_OK)
  {
    Error_Handler();
  }
  if (HAL_UARTEx_DisableFifoMode(&huart2) != HAL_OK)
  {
    Error_Handler();
  }

}

static void MX_USART3_UART_Init(void)
{

  huart3.Instance = USART3;
  huart3.Init.BaudRate = 1000000;
  huart3.Init.WordLength = UART_WORDLENGTH_8B;
  huart3.Init.StopBits = UART_STOPBITS_1;
  huart3.Init.Parity = UART_PARITY_NONE;
  huart3.Init.Mode = UART_MODE_TX_RX;
  huart3.Init.HwFlowCtl = UART_HWCONTROL_NONE;
  huart3.Init.OverSampling = UART_OVERSAMPLING_16;
  huart3.Init.OneBitSampling = UART_ONE_BIT_SAMPLE_DISABLE;
  huart3.Init.ClockPrescaler = UART_PRESCALER_DIV1;
  huart3.AdvancedInit.AdvFeatureInit = UART_ADVFEATURE_NO_INIT;
  if (HAL_HalfDuplex_Init(&huart3) != HAL_OK)
  {
    Error_Handler();
  }
  if (HAL_UARTEx_SetTxFifoThreshold(&huart3, UART_TXFIFO_THRESHOLD_1_8) != HAL_OK)
  {
    Error_Handler();
  }
  if (HAL_UARTEx_SetRxFifoThreshold(&huart3, UART_RXFIFO_THRESHOLD_1_8) != HAL_OK)
  {
    Error_Handler();
  }
  if (HAL_UARTEx_DisableFifoMode(&huart3) != HAL_OK)
  {
    Error_Handler();
  }

}

static void MX_USART6_UART_Init(void)
{

  huart6.Instance = USART6;
  huart6.Init.BaudRate = 1000000;
  huart6.Init.WordLength = UART_WORDLENGTH_8B;
  huart6.Init.StopBits = UART_STOPBITS_1;
  huart6.Init.Parity = UART_PARITY_NONE;
  huart6.Init.Mode = UART_MODE_TX_RX;
  huart6.Init.HwFlowCtl = UART_HWCONTROL_NONE;
  huart6.Init.OverSampling = UART_OVERSAMPLING_16;
  huart6.Init.OneBitSampling = UART_ONE_BIT_SAMPLE_DISABLE;
  huart6.Init.ClockPrescaler = UART_PRESCALER_DIV1;
  huart6.AdvancedInit.AdvFeatureInit = UART_ADVFEATURE_NO_INIT;
  if (HAL_HalfDuplex_Init(&huart6) != HAL_OK)
  {
    Error_Handler();
  }
  if (HAL_UARTEx_SetTxFifoThreshold(&huart6, UART_TXFIFO_THRESHOLD_1_8) != HAL_OK)
  {
    Error_Handler();
  }
  if (HAL_UARTEx_SetRxFifoThreshold(&huart6, UART_RXFIFO_THRESHOLD_1_8) != HAL_OK)
  {
    Error_Handler();
  }
  if (HAL_UARTEx_DisableFifoMode(&huart6) != HAL_OK)
  {
    Error_Handler();
  }

}

static void MX_DMA_Init(void)
{

  /* DMA controller clock enable */
  __HAL_RCC_DMA1_CLK_ENABLE();

  /* DMA interrupt init */
  /* DMA1_Stream0_IRQn interrupt configuration */
  HAL_NVIC_SetPriority(DMA1_Stream0_IRQn, 5, 0);
  HAL_NVIC_EnableIRQ(DMA1_Stream0_IRQn);
  /* DMA1_Stream1_IRQn interrupt configuration */
  HAL_NVIC_SetPriority(DMA1_Stream1_IRQn, 5, 0);
  HAL_NVIC_EnableIRQ(DMA1_Stream1_IRQn);
  /* DMA1_Stream2_IRQn interrupt configuration */
  HAL_NVIC_SetPriority(DMA1_Stream2_IRQn, 5, 0);
  HAL_NVIC_EnableIRQ(DMA1_Stream2_IRQn);
  /* DMA1_Stream3_IRQn interrupt configuration */
  HAL_NVIC_SetPriority(DMA1_Stream3_IRQn, 5, 0);
  HAL_NVIC_EnableIRQ(DMA1_Stream3_IRQn);
  /* DMA1_Stream4_IRQn interrupt configuration */
  HAL_NVIC_SetPriority(DMA1_Stream4_IRQn, 5, 0);
  HAL_NVIC_EnableIRQ(DMA1_Stream4_IRQn);
  /* DMA1_Stream5_IRQn interrupt configuration */
  HAL_NVIC_SetPriority(DMA1_Stream5_IRQn, 5, 0);
  HAL_NVIC_EnableIRQ(DMA1_Stream5_IRQn);
  /* DMA1_Stream6_IRQn interrupt configuration */
  HAL_NVIC_SetPriority(DMA1_Stream6_IRQn, 5, 0);
  HAL_NVIC_EnableIRQ(DMA1_Stream6_IRQn);
  /* DMA1_Stream7_IRQn interrupt configuration */
  HAL_NVIC_SetPriority(DMA1_Stream7_IRQn, 5, 0);
  HAL_NVIC_EnableIRQ(DMA1_Stream7_IRQn);

}

static void MX_GPIO_Init(void)
{

  /* GPIO Ports Clock Enable */
  __HAL_RCC_GPIOC_CLK_ENABLE();
  __HAL_RCC_GPIOF_CLK_ENABLE();
  __HAL_RCC_GPIOH_CLK_ENABLE();
  __HAL_RCC_GPIOA_CLK_ENABLE();
  __HAL_RCC_GPIOB_CLK_ENABLE();
  __HAL_RCC_GPIOD_CLK_ENABLE();
  __HAL_RCC_GPIOG_CLK_ENABLE();

  /* USER CODE BEGIN MX_GPIO_Init_2 */
  GPIO_InitTypeDef GPIO_InitStruct = {0};

  /* Configure LED pins: PB0 (Green/LD1), PB14 (Red/LD3) */
  HAL_GPIO_WritePin(GPIOB, LED_GREEN_Pin | LED_RED_Pin, GPIO_PIN_RESET);
  GPIO_InitStruct.Pin = LED_GREEN_Pin | LED_RED_Pin;
  GPIO_InitStruct.Mode = GPIO_MODE_OUTPUT_PP;
  GPIO_InitStruct.Pull = GPIO_NOPULL;
  GPIO_InitStruct.Speed = GPIO_SPEED_FREQ_LOW;
  HAL_GPIO_Init(GPIOB, &GPIO_InitStruct);

  /* Configure LED pin: PE1 (Yellow/LD2) */
  HAL_GPIO_WritePin(GPIOE, LED_YELLOW_Pin, GPIO_PIN_RESET);
  GPIO_InitStruct.Pin = LED_YELLOW_Pin;
  HAL_GPIO_Init(GPIOE, &GPIO_InitStruct);

  /* USER CODE END MX_GPIO_Init_2 */
}

void StartDefaultTask(void *argument)
{
  /* init code for LWIP */
  MX_LWIP_Init();
  /* USER CODE BEGIN 5 */

  /* User Setup: Waits for motors to boot */
  for (int i = 0; i < 20; i++) {
      osDelay(100);
      HAL_IWDG_Refresh(&hiwdg1);
  }

  HAL_GPIO_WritePin(LED_YELLOW_Port, LED_YELLOW_Pin, GPIO_PIN_SET);
  HAL_GPIO_WritePin(LED_YELLOW_Port, LED_YELLOW_Pin, GPIO_PIN_RESET);

  // gripper_init();

  tcp_server_init();

  for(;;)
  {
    osDelay(100);
    HAL_IWDG_Refresh(&hiwdg1);
  }
  /* USER CODE END 5 */
}

 /* MPU Configuration */

void MPU_Config(void)
{
  MPU_Region_InitTypeDef MPU_InitStruct = {0};

  /* Disables the MPU */
  HAL_MPU_Disable();

  /** Initializes and configures the Region and the memory to be protected
  */
  MPU_InitStruct.Enable = MPU_REGION_ENABLE;
  MPU_InitStruct.Number = MPU_REGION_NUMBER0;
  MPU_InitStruct.BaseAddress = 0x0;
  MPU_InitStruct.Size = MPU_REGION_SIZE_4GB;
  MPU_InitStruct.SubRegionDisable = 0x87;
  MPU_InitStruct.TypeExtField = MPU_TEX_LEVEL0;
  MPU_InitStruct.AccessPermission = MPU_REGION_NO_ACCESS;
  MPU_InitStruct.DisableExec = MPU_INSTRUCTION_ACCESS_DISABLE;
  MPU_InitStruct.IsShareable = MPU_ACCESS_SHAREABLE;
  MPU_InitStruct.IsCacheable = MPU_ACCESS_NOT_CACHEABLE;
  MPU_InitStruct.IsBufferable = MPU_ACCESS_NOT_BUFFERABLE;

  HAL_MPU_ConfigRegion(&MPU_InitStruct);

  /** Initializes and configures the Region and the memory to be protected
  */
  MPU_InitStruct.Number = MPU_REGION_NUMBER1;
  MPU_InitStruct.BaseAddress = 0x30000000;
  MPU_InitStruct.Size = MPU_REGION_SIZE_256B;
  MPU_InitStruct.SubRegionDisable = 0x0;
  MPU_InitStruct.AccessPermission = MPU_REGION_FULL_ACCESS;
  MPU_InitStruct.DisableExec = MPU_INSTRUCTION_ACCESS_ENABLE;
  MPU_InitStruct.IsShareable = MPU_ACCESS_NOT_SHAREABLE;
  MPU_InitStruct.IsBufferable = MPU_ACCESS_BUFFERABLE;

  HAL_MPU_ConfigRegion(&MPU_InitStruct);

  /** Initializes and configures the Region and the memory to be protected
  */
  MPU_InitStruct.Number = MPU_REGION_NUMBER2;
  MPU_InitStruct.BaseAddress = 0x30004000;
  MPU_InitStruct.Size = MPU_REGION_SIZE_16KB;
  MPU_InitStruct.TypeExtField = MPU_TEX_LEVEL1;
  MPU_InitStruct.IsShareable = MPU_ACCESS_SHAREABLE;
  MPU_InitStruct.IsBufferable = MPU_ACCESS_NOT_BUFFERABLE;

  HAL_MPU_ConfigRegion(&MPU_InitStruct);
  /* Enables the MPU */
  HAL_MPU_Enable(MPU_PRIVILEGED_DEFAULT);

}

void HAL_TIM_PeriodElapsedCallback(TIM_HandleTypeDef *htim)
{
  if (htim->Instance == TIM6)
  {
    HAL_IncTick();
  }
}

void Error_Handler(void)
{
  __disable_irq();
  while (1)
  {
  }
}
